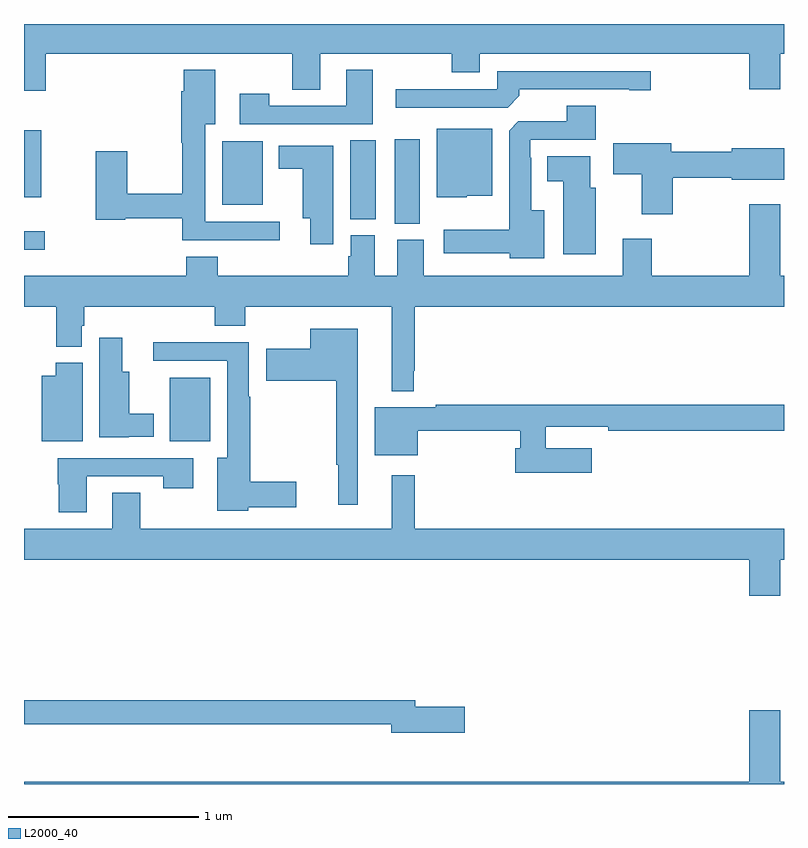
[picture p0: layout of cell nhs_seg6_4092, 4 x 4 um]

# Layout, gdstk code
import gdstk
lib = gdstk.Library(unit=1e-6, precision=1e-09)
def R(c, l, rs):  # rectangles x0, y0, x1, y1
    for r in rs: c.add(gdstk.rectangle(r[:2], r[2:], *l))
def P(c, l, *ps):  # polygons
    for p in ps: c.add(gdstk.Polygon(p, *l))
L2000_40 = (2000, 40)

nhs_seg6_4092 = lib.new_cell('nhs_seg6_4092')
R(nhs_seg6_4092, L2000_40, [(353.768,937.304,353.98,937.639), (353,938.312,353.11,938.409), (354.95,938.449,355.084,938.893), (354.716,938.473,354.85,938.888), (354.044,938.549,354.256,938.884), (353,938.588,353.092,938.941)])
P(nhs_seg6_4092, L2000_40, [(353.114,939.344),(354.412,939.344),(354.412,939.154),(354.559,939.154),(354.559,939.344),(355.252,939.344),(355.252,939.245),(355.399,939.245),(355.399,939.344),(356.816,939.344),(356.816,939.156),(356.98,939.156),(356.98,939.344),(357,939.344),(357,939.5),(353,939.5),(353,939.15),(353.114,939.15)],
  [(354.835,939.259),(354.695,939.259),(354.695,939.069),(354.291,939.069),(354.291,939.133),(354.135,939.133),(354.135,938.973),(354.835,938.973)],
  [(354.346,938.46),(353.953,938.46),(353.953,938.972),(354.007,938.972),(354.007,939.259),(353.84,939.259),(353.84,939.146),(353.828,939.146),(353.828,938.876),(353.833,938.876),(353.833,938.606),(353.544,938.606),(353.544,938.83),(353.378,938.83),(353.378,938.47),(353.532,938.47),(353.532,938.478),(353.833,938.478),(353.833,938.363),(354.346,938.363)],
  [(355.607,939.122),(355.607,939.156),(356.186,939.156),(356.186,939.151),(356.299,939.151),(356.299,939.252),(355.491,939.252),(355.491,939.156),(354.957,939.156),(354.957,939.06),(355.545,939.06)],
  [(355.738,938.521),(355.669,938.521),(355.669,938.795),(355.665,938.795),(355.665,938.892),(356.009,938.892),(356.009,939.071),(355.856,939.071),(355.856,938.988),(355.602,938.988),(355.553,938.939),(355.553,938.416),(355.209,938.416),(355.209,938.294),(355.557,938.294),(355.557,938.267),(355.738,938.267)],
  [(355.329,938.597),(355.465,938.597),(355.465,938.95),(355.172,938.95),(355.172,938.588),(355.329,938.588)],
  [(356.415,938.692),(356.726,938.692),(356.726,938.681),(357,938.681),(357,938.847),(356.726,938.847),(356.726,938.828),(356.407,938.828),(356.407,938.872),(356.1,938.872),(356.1,938.71),(356.252,938.71),(356.252,938.499),(356.415,938.499)],
  [(354.628,938.86),(354.341,938.86),(354.341,938.738),(354.467,938.738),(354.467,938.477),(354.506,938.477),(354.506,938.34),(354.628,938.34)],
  [(356.008,938.637),(355.981,938.637),(355.981,938.803),(355.754,938.803),(355.754,938.672),(355.838,938.672),(355.838,938.289),(356.008,938.289)],
  [(355.05,937.675),(355.057,937.675),(355.057,938.012),(357,938.012),(357,938.176),(356.98,938.176),(356.98,938.551),(356.816,938.551),(356.816,938.176),(356.303,938.176),(356.303,938.371),(356.15,938.371),(356.15,938.176),(355.105,938.176),(355.105,938.364),(354.965,938.364),(354.965,938.176),(354.847,938.176),(354.847,938.388),(354.719,938.388),(354.719,938.277),(354.707,938.277),(354.707,938.176),(354.02,938.176),(354.02,938.275),(353.855,938.275),(353.855,938.176),(353,938.176),(353,938.012),(353.17,938.012),(353.17,937.801),(353.305,937.801),(353.305,937.911),(353.318,937.911),(353.318,938.012),(354.005,938.012),(354.005,937.913),(354.165,937.913),(354.165,938.012),(354.935,938.012),(354.935,937.568),(355.05,937.568)],
  [(354.757,937.897),(354.506,937.897),(354.506,937.792),(354.276,937.792),(354.276,937.622),(354.643,937.622),(354.643,937.181),(354.653,937.181),(354.653,936.969),(354.757,936.969)],
  [(353.55,937.328),(353.683,937.328),(353.683,937.45),(353.554,937.45),(353.554,937.669),(353.518,937.669),(353.518,937.849),(353.396,937.849),(353.396,937.325),(353.55,937.325)],
  [(354.18,936.956),(354.433,936.956),(354.433,937.091),(354.192,937.091),(354.192,937.538),(354.184,937.538),(354.184,937.826),(353.679,937.826),(353.679,937.728),(354.071,937.728),(354.071,937.216),(354.017,937.216),(354.017,936.938),(354.18,936.938)],
  [(353.308,937.716),(353.167,937.716),(353.167,937.648),(353.093,937.648),(353.093,937.304),(353.308,937.304)],
  [(355.987,937.267),(355.745,937.267),(355.745,937.38),(356.074,937.38),(356.074,937.36),(357,937.36),(357,937.496),(355.168,937.496),(355.168,937.483),(354.845,937.483),(354.845,937.229),(355.072,937.229),(355.072,937.36),(355.613,937.36),(355.613,937.267),(355.586,937.267),(355.586,937.138),(355.987,937.138)],
  [(353.329,937.119),(353.734,937.119),(353.734,937.056),(353.89,937.056),(353.89,937.215),(353.177,937.215),(353.177,937.077),(353.182,937.077),(353.182,936.93),(353.329,936.93)],
  [(354.935,937.126),(354.935,936.844),(353.613,936.844),(353.613,937.034),(353.465,937.034),(353.465,936.844),(353,936.844),(353,936.68),(356.816,936.68),(356.816,936.492),(356.98,936.492),(356.98,936.68),(357,936.68),(357,936.844),(355.057,936.844),(355.057,937.126)],
  [(355.321,935.906),(355.06,935.906),(355.06,935.942),(353,935.942),(353,935.814),(354.932,935.814),(354.932,935.771),(355.321,935.771)],
  [(357,935.512),(356.98,935.512),(356.98,935.887),(356.816,935.887),(356.816,935.512),(353,935.512),(353,935.5),(357,935.5)])

lib.write_gds('nhs_seg6_4092.gds')
